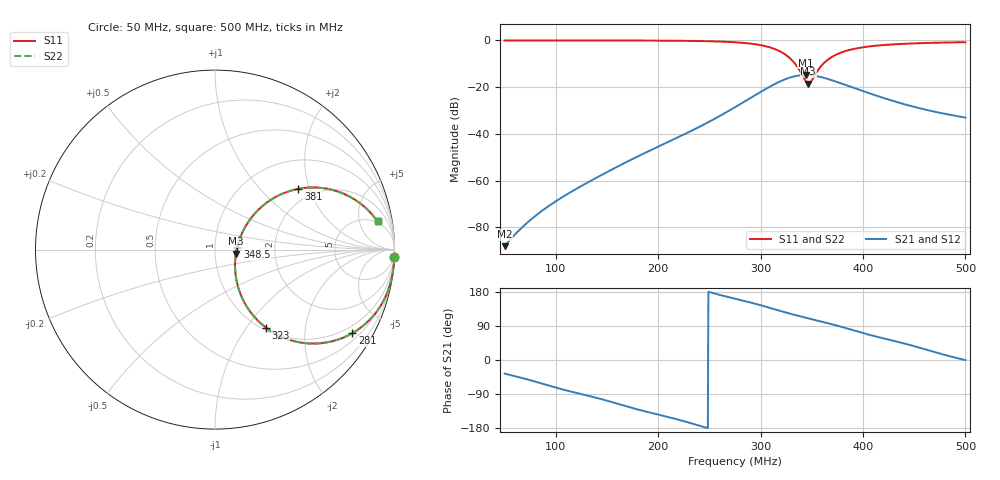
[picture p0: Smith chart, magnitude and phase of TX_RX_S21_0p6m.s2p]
! SYNTHETIC_DEVELOPMENT_INPUT - NOT VNA MEASUREMENT
! Tx-Rx separation = 0.600 m; free-space development fixture
! 50-500 MHz / 901 points / 0.5 MHz step / 50-ohm reference
# Hz S RI R 50
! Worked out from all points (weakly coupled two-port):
!   901 points, 50 MHz to 500 MHz, reference 50 ohm
!   highest |S21| = -14.80 dB at 344 MHz (marker M1); lowest = -88.0 dB at 50 MHz (marker M2)
!   lowest |S11| = -18.5 dB at 346.5 MHz (marker M3), VSWR 1.27, Z = 63.1 - j2.94 ohm
!   |S11| at or under -10 dB: 333.7 MHz to 361.1 MHz (27.35 MHz wide, 7.87 % of centre)
!   |S22| runs from -18.5 to 0.0 dB; largest |S21 - S12| = 0
!   S11 on the Smith chart (normalised r, x): 50 MHz: 0, -47; 281 MHz: 0.73, -3.42; 323 MHz: 1.04, -1.24; 348.5 MHz: 1.28, +0.04; 381 MHz: 1.67, +1.69; 500 MHz: 5, +9
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5e7  0.9991 -0.0422  3.22e-05 -2.34e-05  3.22e-05 -2.34e-05  0.9991 -0.0422
6.75e7  0.9983 -0.0578  6.88e-05 -7.59e-05  6.88e-05 -7.59e-05  0.9983 -0.0578
9.3e7  0.9964 -0.0819  0.00011 -0.000264  0.00011 -0.000264  0.9964 -0.0819
1.25e8  0.9925 -0.1157  -8.39e-07 -0.000772  -8.39e-07 -0.000772  0.9925 -0.1157
2e8  0.965 -0.2266  -0.00434 -0.00314  -0.00434 -0.00314  0.965 -0.2266
2.445e8  0.9073 -0.3367  -0.0158 -0.00093  -0.0158 -0.00093  0.9073 -0.3367
2.75e8  0.8001 -0.4435  -0.0355 0.0116  -0.0355 0.0116  0.8001 -0.4435
2.81e8  0.7647 -0.4659  -0.0414 0.0168  -0.0414 0.0168  0.7647 -0.4659
3.065e8  0.5203 -0.5226  -0.0728 0.062  -0.0728 0.062  0.5203 -0.5226
3.23e8  0.2835 -0.4345  -0.0864 0.1163  -0.0864 0.1163  0.2835 -0.4345
3.335e8  0.1565 -0.2804  -0.0829 0.1503  -0.0829 0.1503  0.1565 -0.2804
3.44e8  0.1119 -0.0731  -0.0674 0.1691  -0.0674 0.1691  0.1119 -0.0731
3.465e8  0.1165 -0.023  -0.0624 0.1705  -0.0624 0.1705  0.1165 -0.023
3.485e8  0.1242 0.0158  -0.0581 0.1707  -0.0581 0.1707  0.1242 0.0158
3.5e8  0.1322 0.044  -0.0548 0.1704  -0.0548 0.1704  0.1322 0.044
3.57e8  0.1892 0.1597  -0.0387 0.1641  -0.0387 0.1641  0.1892 0.1597
3.63e8  0.2554 0.2348  -0.025 0.1542  -0.025 0.1542  0.2554 0.2348
3.81e8  0.4649 0.3387  0.0082 0.1154  0.0082 0.1154  0.4649 0.3387
4.015e8  0.6399 0.336  0.0276 0.0755  0.0276 0.0755  0.6399 0.336
4.25e8  0.7593 0.2902  0.0321 0.0439  0.0321 0.0439  0.7593 0.2902
4.61e8  0.8542 0.2182  0.0292 0.0155  0.0292 0.0155  0.8542 0.2182
5e8  0.9055 0.1576  0.0224 -9.74e-05  0.0224 -9.74e-05  0.9055 0.1576
